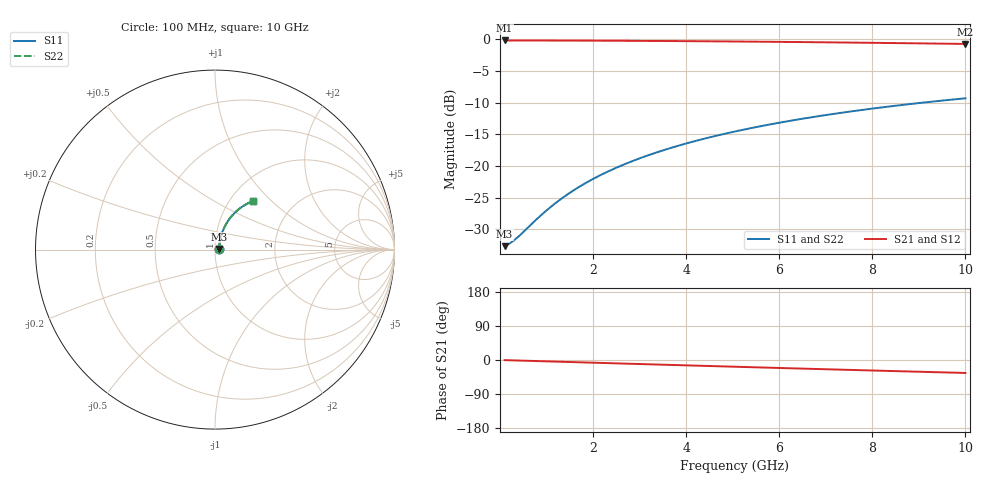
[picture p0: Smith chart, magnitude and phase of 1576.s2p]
# Hz S RI R 50.00
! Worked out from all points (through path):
!   100 points, 100 MHz to 10 GHz, reference 50 ohm
!   highest |S21| = -0.20 dB at 100 MHz (marker M1); lowest = -0.7 dB at 10 GHz (marker M2)
!   group delay of S21, straight-line fit = 9.51 ps
!   lowest |S11| = -32.7 dB at 100 MHz (marker M3), VSWR 1.05, Z = 52.3 + j0.381 ohm
!   |S11| at or under -10 dB: start of sweep to 9.108 GHz
!   |S22| runs from -32.7 to -9.3 dB; largest |S21 - S12| = 0
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1e8  0.023 0.00363  0.977 -0.00607  0.977 -0.00607  0.023 0.00363
2e8  0.0232 0.00726  0.9768 -0.0121  0.9768 -0.0121  0.0232 0.00726
3e8  0.0234 0.0109  0.9766 -0.0182  0.9766 -0.0182  0.0234 0.0109
4e8  0.0236 0.0145  0.9763 -0.0243  0.9763 -0.0243  0.0236 0.0145
9e8  0.0254 0.0326  0.9743 -0.0545  0.9743 -0.0545  0.0254 0.0326
1.2e9  0.027 0.0433  0.9726 -0.0726  0.9726 -0.0726  0.027 0.0433
1.5e9  0.0289 0.054  0.9704 -0.0906  0.9704 -0.0906  0.0289 0.054
1.8e9  0.0312 0.0646  0.9678 -0.1085  0.9678 -0.1085  0.0312 0.0646
2.1e9  0.0339 0.0751  0.9647 -0.1263  0.9647 -0.1263  0.0339 0.0751
2.5e9  0.038 0.0889  0.96 -0.1498  0.96 -0.1498  0.038 0.0889
2.9e9  0.0429 0.1024  0.9545 -0.1731  0.9545 -0.1731  0.0429 0.1024
3.4e9  0.0498 0.1189  0.9467 -0.2018  0.9467 -0.2018  0.0498 0.1189
3.8e9  0.056 0.1317  0.9395 -0.2244  0.9395 -0.2244  0.056 0.1317
4.2e9  0.0628 0.1441  0.9317 -0.2467  0.9317 -0.2467  0.0628 0.1441
4.6e9  0.0702 0.1562  0.9233 -0.2685  0.9233 -0.2685  0.0702 0.1562
5.1e9  0.0802 0.1706  0.9118 -0.2952  0.9118 -0.2952  0.0802 0.1706
5.9e9  0.0978 0.1922  0.8915 -0.3365  0.8915 -0.3365  0.0978 0.1922
6.7e9  0.1171 0.2119  0.8691 -0.3758  0.8691 -0.3758  0.1171 0.2119
7.5e9  0.1379 0.2293  0.8447 -0.413  0.8447 -0.413  0.1379 0.2293
8.4e9  0.1628 0.2464  0.8154 -0.4523  0.8154 -0.4523  0.1628 0.2464
9.2e9  0.186 0.2591  0.7878 -0.4849  0.7878 -0.4849  0.186 0.2591
1e10  0.2098 0.2695  0.759 -0.5152  0.759 -0.5152  0.2098 0.2695
